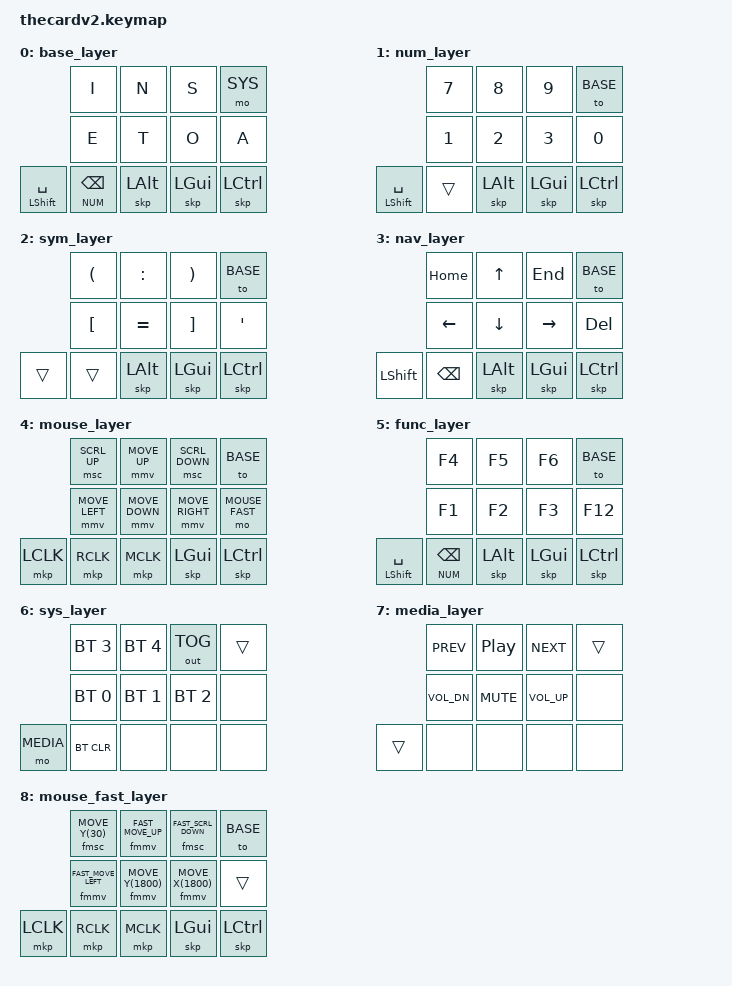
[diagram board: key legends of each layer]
#include <behaviors.dtsi>
#include <dt-bindings/zmk/bt.h>
#include <dt-bindings/zmk/keys.h>
#include <dt-bindings/zmk/outputs.h>
#include <dt-bindings/zmk/pointing.h>
#include <zephyr/dt-bindings/input/input-event-codes.h>

#define BASE 0
#define NUM 1
#define SYM 2
#define NAV 3
#define MOUSE 4
#define FUNC 5
#define SYS 6
#define MEDIA 7
#define MOUSE_FAST 8

#define FAST_MOVE_UP MOVE_Y(-1800)
#define FAST_MOVE_DOWN MOVE_Y(1800)
#define FAST_MOVE_LEFT MOVE_X(-1800)
#define FAST_MOVE_RIGHT MOVE_X(1800)
#define FAST_SCRL_UP MOVE_Y(30)
#define FAST_SCRL_DOWN MOVE_Y(-30)

#define K0 0
#define K1 1
#define K2 2
#define K3 3
#define K4 4
#define K5 5
#define K6 6
#define K7 7
#define K8 8
#define K9 9
#define K10 10
#define K11 11
#define K12 12

/ {
    behaviors {
        skp: superkey {
            compatible = "zmk,behavior-superkey";
            display-name = "SuperKey";
            #binding-cells = <1>;
            tapping-term-ms = <150>;
            double-tap-ms = <250>;
            release-after-ms = <3000>;
        };

        nav_media: nav_media {
            compatible = "zmk,behavior-hold-tap";
            display-name = "NAV / MEDIA";
            #binding-cells = <2>;
            flavor = "balanced";
            tapping-term-ms = <180>;
            bindings = <&mo>, <&to>;
        };

        mouse_btclr: mouse_btclr {
            compatible = "zmk,behavior-hold-tap";
            display-name = "MOUSE / BT Clear";
            #binding-cells = <2>;
            flavor = "balanced";
            tapping-term-ms = <250>;
            bindings = <&bt>, <&to>;
        };

        fmmv: fast_mouse_move {
            compatible = "zmk,behavior-input-two-axis";
            #binding-cells = <1>;
            x-input-code = <INPUT_REL_X>;
            y-input-code = <INPUT_REL_Y>;
            time-to-max-speed-ms = <120>;
            acceleration-exponent = <1>;
        };

        fmsc: fast_mouse_scroll {
            compatible = "zmk,behavior-input-two-axis";
            #binding-cells = <1>;
            x-input-code = <INPUT_REL_HWHEEL>;
            y-input-code = <INPUT_REL_WHEEL>;
            time-to-max-speed-ms = <120>;
            acceleration-exponent = <0>;
        };
    };

    fmmv_input_listener: fmmv_input_listener {
        compatible = "zmk,input-listener";
        device = <&fmmv>;
    };

    fmsc_input_listener: fmsc_input_listener {
        compatible = "zmk,input-listener";
        device = <&fmsc>;
    };
};

/ {
    #define COMBO_GLOBAL(NAME, BINDINGS, KEYPOS) \
    combo_##NAME { \
        timeout-ms = <20>; \
        bindings = <BINDINGS>; \
        key-positions = <KEYPOS>; \
    };

    #define COMBO_ACCESS(NAME, BINDINGS, KEYPOS) \
    combo_##NAME { \
        timeout-ms = <20>; \
        bindings = <BINDINGS>; \
        key-positions = <KEYPOS>; \
    };

    #define COMBO_LAYER(NAME, BINDINGS, KEYPOS, LAYERS) \
    combo_##NAME { \
        timeout-ms = <20>; \
        bindings = <BINDINGS>; \
        key-positions = <KEYPOS>; \
        layers = <LAYERS>; \
    };

    combos {
        compatible = "zmk,combos";

        /* Global utility / layer access */
        COMBO_GLOBAL(tab, &kp TAB, K3 K2 K1)
        COMBO_GLOBAL(enter, &kp ENTER, K7 K6 K5)
        COMBO_GLOBAL(esc, &kp ESC, K6 K5 K4)

        COMBO_ACCESS(access_sym, &mo SYM, K11 K12)
        COMBO_ACCESS(access_nav, &to NAV, K0 K12)
        COMBO_ACCESS(access_mouse, &to MOUSE, K0 K11)
        COMBO_ACCESS(access_func, &to FUNC, K0 K10)

        /* ALPHA */
        COMBO_LAYER(alpha_d, &kp D, K3 K7, BASE)
        COMBO_LAYER(alpha_l, &kp L, K2 K6, BASE)
        COMBO_LAYER(alpha_b, &kp B, K1 K5, BASE)
        COMBO_LAYER(alpha_r, &kp R, K2 K3, BASE)
        COMBO_LAYER(alpha_c, &kp C, K1 K2, BASE)
        COMBO_LAYER(alpha_h, &kp H, K6 K7, BASE)
        COMBO_LAYER(alpha_u, &kp U, K5 K6, BASE)
        COMBO_LAYER(alpha_m, &kp M, K1 K3, BASE)
        COMBO_LAYER(alpha_w, &kp W, K5 K7, BASE)
        COMBO_LAYER(alpha_p, &kp P, K4 K5, BASE)
        COMBO_LAYER(alpha_y, &kp Y, K2 K7, BASE)
        COMBO_LAYER(alpha_g, &kp G, K2 K5, BASE)
        COMBO_LAYER(alpha_f, &kp F, K3 K6, BASE)
        COMBO_LAYER(alpha_v, &kp V, K1 K4, BASE)
        COMBO_LAYER(alpha_k, &kp K, K3 K5, BASE)
        COMBO_LAYER(alpha_z, &kp Z, K3 K4, BASE)
        COMBO_LAYER(alpha_x, &kp X, K1 K7, BASE)
        COMBO_LAYER(alpha_j, &kp J, K4 K7, BASE)
        COMBO_LAYER(alpha_q, &kp Q, K1 K6, BASE)

        /* NUM */
        COMBO_LAYER(num_4, &kp N4, K3 K7, NUM)
        COMBO_LAYER(num_5, &kp N5, K2 K6, NUM)
        COMBO_LAYER(num_6, &kp N6, K1 K5, NUM)
        COMBO_LAYER(num_plus, &kp PLUS, K2 K3, NUM)
        COMBO_LAYER(num_minus, &kp MINUS, K1 K2, NUM)
        COMBO_LAYER(num_star, &kp STAR, K6 K7, NUM)
        COMBO_LAYER(num_slash, &kp FSLH, K5 K6, NUM)
        COMBO_LAYER(num_comma, &kp COMMA, K1 K4, NUM)
        COMBO_LAYER(num_dot, &kp DOT, K4 K5, NUM)
        COMBO_LAYER(num_semi, &kp SEMI, K3 K4, NUM)
        COMBO_LAYER(num_colon, &kp COLON, K4 K7, NUM)
        COMBO_LAYER(num_equal, &kp EQUAL, K1 K3, NUM)
        COMBO_LAYER(num_percent, &kp PRCNT, K2 K7, NUM)
        COMBO_LAYER(num_caret, &kp CARET, K3 K6, NUM)
        COMBO_LAYER(num_lt, &kp LT, K2 K5, NUM)
        COMBO_LAYER(num_gt, &kp GT, K1 K6, NUM)
        COMBO_LAYER(num_lpar, &kp LPAR, K1 K7, NUM)
        COMBO_LAYER(num_rpar, &kp RPAR, K3 K5, NUM)

        /* SYM */
        COMBO_LAYER(sym_semi, &kp SEMI, K2 K6, SYM)
        COMBO_LAYER(sym_slash, &kp FSLH, K2 K7, SYM)
        COMBO_LAYER(sym_bslash, &kp BSLH, K3 K6, SYM)
        COMBO_LAYER(sym_lt, &kp LT, K2 K3, SYM)
        COMBO_LAYER(sym_gt, &kp GT, K1 K2, SYM)
        COMBO_LAYER(sym_lbrace, &kp LBRC, K6 K7, SYM)
        COMBO_LAYER(sym_rbrace, &kp RBRC, K5 K6, SYM)
        COMBO_LAYER(sym_dquote, &kp DQT, K4 K5, SYM)
        COMBO_LAYER(sym_grave, &kp GRAVE, K1 K4, SYM)
        COMBO_LAYER(sym_under, &kp UNDER, K5 K7, SYM)
        COMBO_LAYER(sym_pipe, &kp PIPE, K3 K7, SYM)
        COMBO_LAYER(sym_amp, &kp AMPS, K2 K5, SYM)
        COMBO_LAYER(sym_at, &kp AT, K1 K5, SYM)
        COMBO_LAYER(sym_qmark, &kp QMARK, K4 K7, SYM)
        COMBO_LAYER(sym_exclaim, &kp EXCL, K3 K4, SYM)
        COMBO_LAYER(sym_hash, &kp HASH, K1 K7, SYM)
        COMBO_LAYER(sym_dollar, &kp DLLR, K3 K5, SYM)
        COMBO_LAYER(sym_tilde, &kp TILDE, K1 K3, SYM)


        /* FUNC */
        COMBO_LAYER(func_f7, &kp F7, K3 K7, FUNC)
        COMBO_LAYER(func_f8, &kp F8, K2 K6, FUNC)
        COMBO_LAYER(func_f9, &kp F9, K1 K5, FUNC)
        COMBO_LAYER(func_f10, &kp F10, K2 K3, FUNC)
        COMBO_LAYER(func_f11, &kp F11, K1 K2, FUNC)

        /* MOUSE optional side buttons */
        COMBO_LAYER(mouse_btn4, &mkp MB4, K4 K1, MOUSE)
        COMBO_LAYER(mouse_btn5, &mkp MB5, K4 K3, MOUSE)
    };

    keymap {
        compatible = "zmk,keymap";

        base_layer {
            bindings = <
                &mo SYS         &kp S       &kp N       &kp I
                &kp A           &kp O       &kp T       &kp E
                &skp LEFT_CONTROL &skp LEFT_GUI &skp LEFT_ALT &lt NUM BSPC &mt LEFT_SHIFT SPACE
            >;
        };

        num_layer {
            bindings = <
                &to BASE        &kp N9      &kp N8      &kp N7
                &kp N0          &kp N3      &kp N2      &kp N1
                &skp LEFT_CONTROL &skp LEFT_GUI &skp LEFT_ALT &trans      &mt LEFT_SHIFT SPACE
            >;
        };

        sym_layer {
            bindings = <
                &to BASE        &kp RPAR    &kp COLON   &kp LPAR
                &kp SQT         &kp RBKT    &kp EQUAL   &kp LBKT
                &skp LEFT_CONTROL &skp LEFT_GUI &skp LEFT_ALT &trans      &trans
            >;
        };

        nav_layer {
            bindings = <
                &to BASE        &kp END     &kp UP      &kp HOME
                &kp DEL         &kp RIGHT   &kp DOWN    &kp LEFT
                &skp LEFT_CONTROL &skp LEFT_GUI &skp LEFT_ALT &kp BSPC    &kp LEFT_SHIFT
            >;
        };

        mouse_layer {
            bindings = <
                &to BASE        &msc SCRL_DOWN &mmv MOVE_UP   &msc SCRL_UP
                &mo MOUSE_FAST  &mmv MOVE_RIGHT &mmv MOVE_DOWN &mmv MOVE_LEFT
                &skp LEFT_CONTROL &skp LEFT_GUI    &mkp MCLK      &mkp RCLK     &mkp LCLK
            >;
        };

        func_layer {
            bindings = <
                &to BASE        &kp F6      &kp F5      &kp F4
                &kp F12         &kp F3      &kp F2      &kp F1
                &skp LEFT_CONTROL &skp LEFT_GUI &skp LEFT_ALT &lt NUM BSPC &mt LEFT_SHIFT SPACE
            >;
        };

        sys_layer {
            bindings = <
                &trans          &out OUT_TOG &bt BT_SEL 4 &bt BT_SEL 3
                &none           &bt BT_SEL 2 &bt BT_SEL 1 &bt BT_SEL 0
                &none           &none        &none        &bt BT_CLR  &mo MEDIA
            >;
        };

        media_layer {
            bindings = <
                &trans          &kp C_NEXT  &kp C_PP    &kp C_PREV
                &none           &kp C_VOL_UP &kp C_MUTE  &kp C_VOL_DN
                &none           &none       &none       &none       &trans
            >;
        };

        mouse_fast_layer {
            bindings = <
                &to BASE        &fmsc FAST_SCRL_DOWN &fmmv FAST_MOVE_UP   &fmsc FAST_SCRL_UP
                &trans          &fmmv FAST_MOVE_RIGHT &fmmv FAST_MOVE_DOWN &fmmv FAST_MOVE_LEFT
                &skp LEFT_CONTROL &skp LEFT_GUI       &mkp MCLK           &mkp RCLK          &mkp LCLK
            >;
        };
    };
};
